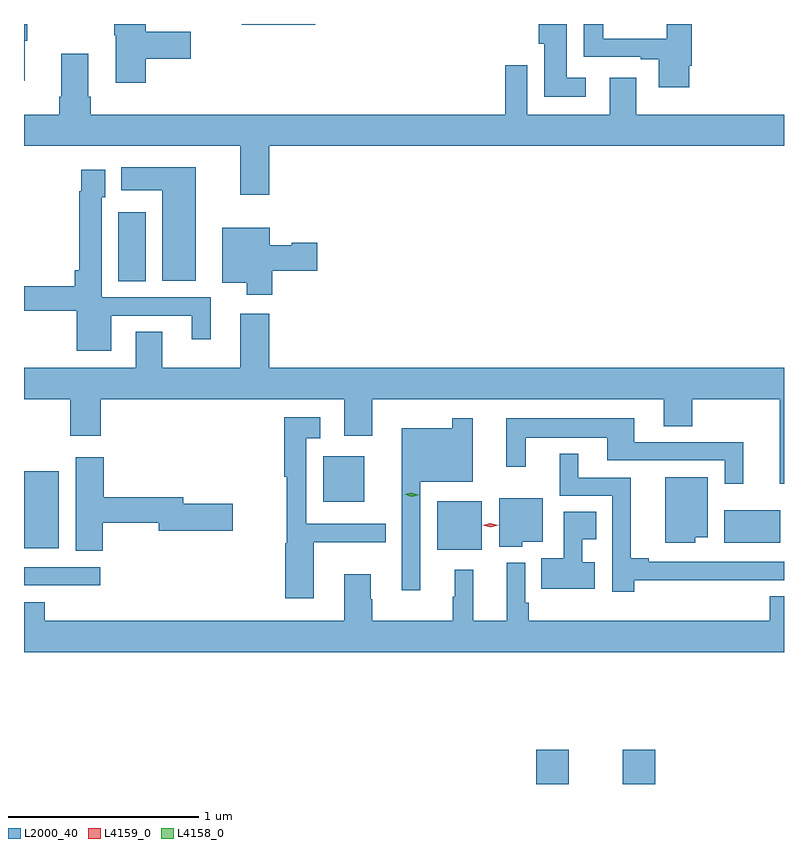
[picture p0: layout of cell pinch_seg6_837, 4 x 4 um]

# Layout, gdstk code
import gdstk
lib = gdstk.Library(unit=1e-6, precision=1e-09)
def R(c, l, rs):  # rectangles x0, y0, x1, y1
    for r in rs: c.add(gdstk.rectangle(r[:2], r[2:], *l))
def P(c, l, *ps):  # polygons
    for p in ps: c.add(gdstk.Polygon(p, *l))
L2000_40 = (2000, 40)
L4158_0 = (4158, 0)
L4159_0 = (4159, 0)

pinch_seg6_837 = lib.new_cell('pinch_seg6_837')
R(pinch_seg6_837, L2000_40, [(233.708,951.97,233.878,952.15), (234.164,951.97,234.335,952.15), (231.012,953.016,231.412,953.112), (233.186,953.204,233.422,953.458), (231.012,953.21,231.196,953.617), (234.698,953.24,234.991,953.41), (232.586,953.456,232.804,953.695), (231.509,954.616,231.652,954.979), (232.158,955.966,232.546,955.97)])
P(pinch_seg6_837, L2000_40, [(234.514,955.75),(234.527,955.75),(234.527,955.97),(234.395,955.97),(234.395,955.893),(234.061,955.893),(234.061,955.97),(233.957,955.97),(233.957,955.797),(234.257,955.797),(234.257,955.785),(234.353,955.785),(234.353,955.638),(234.514,955.638)],
  [(231.653,955.786),(231.889,955.786),(231.889,955.928),(231.653,955.928),(231.653,955.97),(231.487,955.97),(231.487,955.911),(231.494,955.911),(231.494,955.662),(231.653,955.662)],
  [(231.017,955.883),(231.028,955.883),(231.028,955.97),(231.012,955.97),(231.012,955.671),(231.017,955.671)],
  [(233.968,955.687),(233.869,955.687),(233.869,955.97),(233.72,955.97),(233.72,955.866),(233.75,955.866),(233.75,955.586),(233.968,955.586)],
  [(232.304,955.328),(235.012,955.328),(235.012,955.492),(234.235,955.492),(234.235,955.687),(234.095,955.687),(234.095,955.492),(233.661,955.492),(233.661,955.753),(233.545,955.753),(233.545,955.492),(231.362,955.492),(231.362,955.588),(231.349,955.588),(231.349,955.813),(231.209,955.813),(231.209,955.588),(231.197,955.588),(231.197,955.492),(231.012,955.492),(231.012,955.328),(232.151,955.328),(232.151,955.071),(232.304,955.071)],
  [(231.916,955.216),(231.524,955.216),(231.524,955.094),(231.74,955.094),(231.74,954.62),(231.916,954.62)],
  [(231.472,954.435),(231.896,954.435),(231.896,954.312),(231.994,954.312),(231.994,954.531),(231.42,954.531),(231.42,955.059),(231.439,955.059),(231.439,955.204),(231.312,955.204),(231.312,955.091),(231.304,955.091),(231.304,954.673),(231.278,954.673),(231.278,954.59),(231.012,954.59),(231.012,954.462),(231.29,954.462),(231.29,954.251),(231.472,954.251)],
  [(232.319,954.671),(232.555,954.671),(232.555,954.818),(232.422,954.818),(232.422,954.805),(232.306,954.805),(232.306,954.898),(232.055,954.898),(232.055,954.608),(232.184,954.608),(232.184,954.546),(232.319,954.546)],
  [(235.012,954.16),(232.304,954.16),(232.304,954.445),(232.151,954.445),(232.151,954.16),(231.739,954.16),(231.739,954.35),(231.599,954.35),(231.599,954.16),(231.012,954.16),(231.012,953.996),(231.256,953.996),(231.256,953.802),(231.416,953.802),(231.416,953.996),(232.697,953.996),(232.697,953.802),(232.846,953.802),(232.846,953.996),(234.38,953.996),(234.38,953.854),(234.528,953.854),(234.528,953.996),(234.989,953.996),(234.989,953.55),(235.012,953.55)],
  [(232.537,953.243),(232.916,953.243),(232.916,953.34),(232.497,953.34),(232.497,953.789),(232.57,953.789),(232.57,953.899),(232.381,953.899),(232.381,953.586),(232.396,953.586),(232.396,953.237),(232.388,953.237),(232.388,952.947),(232.537,952.947)],
  [(233.097,953.561),(233.373,953.561),(233.373,953.896),(233.265,953.896),(233.265,953.842),(233,953.842),(233,953.465),(233.001,953.465),(233.001,952.989),(233.097,952.989)],
  [(234.797,953.769),(234.223,953.769),(234.223,953.896),(233.549,953.896),(233.549,953.64),(233.653,953.64),(233.653,953.792),(234.083,953.792),(234.083,953.673),(234.699,953.673),(234.699,953.55),(234.797,953.55)],
  [(234.224,953.042),(234.854,953.042),(234.854,953.043),(235.012,953.043),(235.012,953.139),(234.301,953.139),(234.301,953.159),(234.206,953.159),(234.206,953.583),(233.929,953.583),(233.929,953.707),(233.831,953.707),(233.831,953.487),(234.108,953.487),(234.108,952.983),(234.224,952.983)],
  [(231.426,953.344),(231.722,953.344),(231.722,953.302),(232.111,953.302),(232.111,953.444),(231.85,953.444),(231.85,953.48),(231.431,953.48),(231.431,953.689),(231.284,953.689),(231.284,953.197),(231.426,953.197)],
  [(234.544,953.27),(234.61,953.27),(234.61,953.584),(234.386,953.584),(234.386,953.24),(234.544,953.24)],
  [(233.634,953.246),(233.743,953.246),(233.743,953.473),(233.513,953.473),(233.513,953.219),(233.634,953.219)],
  [(234.016,953.137),(233.95,953.137),(233.95,953.258),(234.023,953.258),(234.023,953.402),(233.853,953.402),(233.853,953.158),(233.734,953.158),(233.734,952.997),(234.016,952.997)],
  [(235.012,952.958),(234.938,952.958),(234.938,952.828),(233.669,952.828),(233.669,952.924),(233.649,952.924),(233.649,953.134),(233.552,953.134),(233.552,952.828),(233.377,952.828),(233.377,953.098),(233.279,953.098),(233.279,952.955),(233.268,952.955),(233.268,952.828),(232.845,952.828),(232.845,952.943),(232.837,952.943),(232.837,953.074),(232.697,953.074),(232.697,952.828),(231.122,952.828),(231.122,952.927),(231.012,952.927),(231.012,952.664),(235.012,952.664)])
P(pinch_seg6_837, L4158_0, [(233.05,953.483),(233.015,953.494),(233.015,953.494),(233.015,953.494),(233.051,953.503),(233.087,953.492),(233.087,953.491),(233.087,953.491)])
P(pinch_seg6_837, L4159_0, [(233.468,953.322),(233.427,953.331),(233.427,953.331),(233.427,953.332),(233.467,953.342),(233.508,953.332),(233.509,953.332),(233.508,953.332)])

lib.write_gds('pinch_seg6_837.gds')
